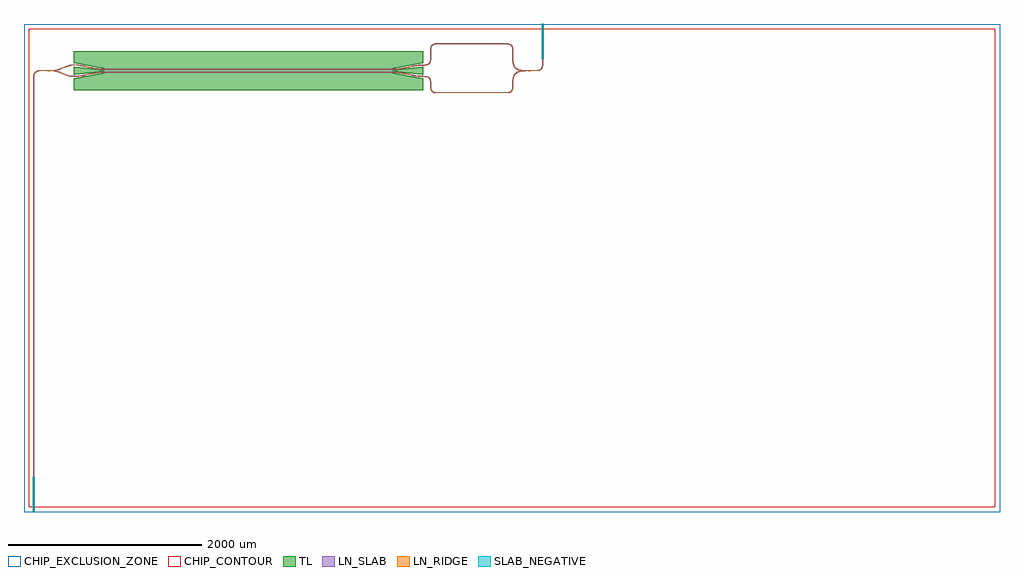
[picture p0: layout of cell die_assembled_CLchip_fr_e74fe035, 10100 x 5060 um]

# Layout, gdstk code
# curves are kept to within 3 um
import gdstk
lib = gdstk.Library(unit=1e-6, precision=1e-09)
def R(c, l, rs):  # rectangles x0, y0, x1, y1
    for r in rs: c.add(gdstk.rectangle(r[:2], r[2:], *l))
def P(c, l, *ps):  # polygons
    for p in ps: c.add(gdstk.Polygon(p, *l))
LN_RIDGE = (2, 0)
LN_SLAB = (3, 0)
SLAB_NEGATIVE = (3, 1)
CHIP_CONTOUR = (6, 0)
CHIP_EXCLUSION_ZONE = (6, 1)
TL = (21, 0)

trave_wave_eom_circuit__ = lib.new_cell('trave_wave_eom_circuit__1110c2b9')
P(trave_wave_eom_circuit__, LN_RIDGE, [(-4950.125,-2400),(-4950.5,-2160),(-4950.495,1970.1),(-4950.259,1980.684),(-4949.544,1989.248),(-4948.294,1996.676),(-4946.488,2003.305),(-4943.978,2009.574),(-4940.694,2015.491),(-4936.514,2021.153),(-4931.827,2026.034),(-4928.304,2028.997),(-4924.196,2031.864),(-4920.2,2034.148),(-4915.772,2036.183),(-4911.197,2037.811),(-4906.25,2039.129),(-4900.961,2040.127),(-4895.357,2040.815),(-4881.558,2041.431),(-4830,2041.452),(-4805,2041.702),(-4805,2043.952),(-4778.25,2043.952),(-4778.25,2043.352),(-4744.66,2043.154),(-4733.089,2043.987),(-4720.714,2045.897),(-4711.927,2047.814),(-4703.136,2050.135),(-4693.543,2053.067),(-4683.946,2056.349),(-4665.543,2063.366),(-4617.484,2083.006),(-4603.853,2088.046),(-4592.222,2091.882),(-4578.98,2095.564),(-4566.132,2098.275),(-4554.079,2099.901),(-4542.825,2100.494),(-4524.399,2100.426),(-4507.956,2099.731),(-4489.912,2098.212),(-4470.668,2095.843),(-4451.027,2092.768),(-4428.986,2088.707),(-4344.069,2070.731),(-4325.252,2067.039),(-4308.44,2064.063),(-4288.429,2061.05),(-4270.822,2058.991),(-4253.619,2057.621),(-4236.019,2056.98),(-4127.629,2057.702),(-1325.609,2057.702),(-1221.219,2056.952),(-1207.62,2057.228),(-1194.419,2057.962),(-1180.415,2059.193),(-1166.01,2060.89),(-1150.402,2063.155),(-1133.59,2066.008),(-1103.163,2071.969),(-1030.262,2087.513),(-1011.028,2091.21),(-993.393,2094.221),(-970.142,2097.454),(-948.891,2099.487),(-930.844,2100.379),(-903.499,2100.649),(-891.789,2101.517),(-884.192,2102.783),(-877.408,2104.591),(-871.18,2106.997),(-865.59,2109.974),(-861.229,2113.034),(-857.518,2116.37),(-854.243,2120.134),(-851.246,2124.54),(-848.755,2129.258),(-846.635,2134.522),(-844.929,2140.291),(-843.713,2146.191),(-842.635,2155.175),(-842.174,2165.576),(-842.115,2249.044),(-841.784,2262.204),(-841.009,2270.625),(-839.742,2277.968),(-837.874,2284.841),(-835.39,2291.162),(-833.365,2295.092),(-830.998,2298.83),(-828.502,2302.066),(-825.706,2305.052),(-822.632,2307.748),(-819.037,2310.331),(-815.22,2312.565),(-811.229,2314.462),(-806.783,2316.148),(-801.898,2317.578),(-796.595,2318.718),(-791.367,2319.5),(-768.303,2319.5),(-782.759,2319.222),(-793.442,2318.216),(-802.946,2316.268),(-811.143,2313.41),(-815.048,2311.523),(-818.772,2309.309),(-822.009,2306.966),(-825.011,2304.333),(-827.739,2301.419),(-830.179,2298.256),(-832.497,2294.596),(-834.483,2290.742),(-836.925,2284.529),(-838.765,2277.754),(-840.06,2270.163),(-840.805,2261.811),(-841.115,2249.041),(-841.174,2165.559),(-841.638,2155.097),(-842.727,2146.025),(-844.041,2139.721),(-845.802,2133.873),(-847.992,2128.529),(-850.564,2123.735),(-853.66,2119.255),(-857.045,2115.426),(-860.874,2112.041),(-865.064,2109.123),(-870.148,2106.373),(-875.812,2104.071),(-881.669,2102.34),(-888.313,2100.998),(-894.694,2100.194),(-902.452,2099.687),(-930.018,2099.399),(-946.419,2098.655),(-964.023,2097.133),(-983.631,2094.682),(-1004.043,2091.437),(-1026.462,2087.252),(-1102.959,2070.99),(-1135.416,2064.664),(-1151.849,2061.916),(-1167.483,2059.69),(-1181.515,2058.076),(-1195.55,2056.88),(-1216.806,2055.985),(-1325.609,2055.202),(-4127.629,2055.202),(-4236.031,2055.98),(-4252.876,2056.576),(-4270.921,2057.996),(-4288.16,2060.005),(-4308.203,2063.01),(-4325.035,2065.981),(-4344.269,2069.751),(-4407.557,2083.307),(-4429.579,2087.804),(-4450.395,2091.645),(-4470.407,2094.796),(-4488.815,2097.091),(-4507.219,2098.682),(-4523.62,2099.409),(-4542.017,2099.499),(-4553.587,2098.942),(-4565.96,2097.29),(-4578.741,2094.593),(-4592.728,2090.679),(-4604.323,2086.821),(-4617.923,2081.763),(-4663.168,2063.243),(-4679.199,2057.014),(-4695.641,2051.345),(-4710.086,2047.237),(-4722.532,2044.54),(-4734.182,2042.861),(-4745.034,2042.143),(-4778.25,2041.852),(-4778.25,2040.052),(-4746.24,2039.786),(-4738.602,2039.44),(-4725.344,2037.849),(-4711.29,2034.965),(-4696.443,2030.811),(-4680.001,2025.186),(-4663.168,2018.661),(-4617.923,2000.141),(-4604.323,1995.083),(-4592.728,1991.225),(-4578.741,1987.311),(-4565.96,1984.614),(-4553.587,1982.962),(-4542.017,1982.405),(-4523.62,1982.495),(-4507.219,1983.222),(-4488.815,1984.813),(-4470.407,1987.108),(-4450.395,1990.259),(-4429.579,1994.1),(-4407.557,1998.597),(-4344.269,2012.153),(-4325.035,2015.923),(-4308.203,2018.894),(-4288.16,2021.899),(-4270.921,2023.908),(-4252.876,2025.328),(-4236.031,2025.924),(-4127.629,2026.702),(-1325.609,2026.702),(-1218.811,2025.941),(-1203.57,2025.499),(-1188.733,2024.499),(-1172.695,2022.859),(-1155.457,2020.538),(-1137.821,2017.665),(-1106.164,2011.578),(-1027.263,1994.811),(-1007.646,1991.101),(-989.234,1988.049),(-968.024,1985.211),(-947.619,1983.33),(-930.018,1982.505),(-903.465,1982.254),(-893.011,1981.537),(-885.643,1980.436),(-879.374,1978.955),(-873.582,1977.009),(-868.32,1974.626),(-863.916,1972.048),(-859.814,1969.006),(-856.331,1965.745),(-853.039,1961.837),(-850.215,1957.585),(-847.706,1952.758),(-845.69,1947.711),(-844.041,1942.183),(-842.273,1932.864),(-841.349,1922.083),(-841.131,1912.634),(-841.075,1878.153),(-840.491,1865.742),(-839.685,1859.087),(-838.467,1852.845),(-836.819,1847.058),(-834.759,1841.769),(-831.992,1836.444),(-828.585,1831.514),(-824.771,1827.341),(-820.417,1823.731),(-815.341,1820.539),(-809.911,1817.977),(-803.591,1815.815),(-796.748,1814.23),(-791.449,1813.421),(-785.105,1812.822),(-769.313,1812.405),(-64.935,1812.404),(-48.133,1812.822),(-38.471,1813.89),(-30.292,1815.636),(-22.709,1818.232),(-16.159,1821.531),(-10.2,1825.784),(-5.499,1830.485),(-1.246,1836.444),(2.053,1842.994),(3.993,1848.33),(5.527,1854.15),(6.597,1860.081),(7.365,1867.079),(7.842,1878.489),(7.903,1917.017),(8.237,1932.532),(9.354,1948.024),(11.39,1961.728),(13.087,1969.32),(15.042,1976.151),(17.422,1982.849),(20.114,1989.064),(23.245,1995.073),(26.641,2000.544),(30.459,2005.733),(34.465,2010.339),(38.843,2014.596),(43.826,2018.68),(49.125,2022.342),(54.986,2025.745),(61.083,2028.697),(67.686,2031.336),(74.446,2033.529),(81.653,2035.389),(88.615,2036.784),(95.633,2037.851),(111.442,2039.268),(126.282,2039.738),(165.779,2040.052),(165.779,2041.852),(121.897,2042.244),(111.442,2042.636),(102.685,2043.272),(94.628,2044.187),(87.284,2045.359),(80.335,2046.822),(73.472,2048.662),(65.781,2051.276),(58.619,2054.335),(52.316,2057.634),(46.022,2061.631),(40.379,2065.973),(35.406,2070.587),(30.671,2075.907),(26.452,2081.642),(23.078,2087.126),(20.114,2092.84),(17.422,2099.055),(15.145,2105.431),(13.256,2111.929),(11.654,2118.849),(10.302,2126.506),(9.318,2134.216),(8.379,2146.337),(7.941,2160.84),(7.791,2256.104),(7.253,2266.162),(6.174,2274.469),(4.907,2280.358),(3.365,2285.478),(1.384,2290.439),(-0.908,2294.885),(-3.642,2299.067),(-6.601,2302.666),(-9.947,2305.904),(-13.912,2308.939),(-17.897,2311.365),(-22.402,2313.542),(-27.09,2315.306),(-32.56,2316.848),(-38.14,2317.961),(-44.121,2318.745),(-58.204,2319.461),(-791.367,2319.5),(-781.798,2320.27),(-769.315,2320.499),(-62.912,2320.497),(-52.79,2320.326),(-44.694,2319.806),(-37.31,2318.835),(-30.683,2317.408),(-23.899,2315.228),(-17.718,2312.405),(-12.234,2308.984),(-7.288,2304.814),(-3.244,2300.206),(0.295,2294.796),(3.361,2288.353),(5.614,2281.591),(6.782,2276.641),(7.727,2270.96),(8.707,2258.829),(8.995,2157.486),(9.739,2140.683),(11.341,2126.323),(12.979,2117.406),(15.114,2108.946),(17.752,2100.986),(20.874,2093.572),(24.28,2087.035),(28.422,2080.542),(33.169,2074.483),(38.031,2069.412),(43.628,2064.632),(49.661,2060.406),(56.048,2056.731),(63.026,2053.458),(70.561,2050.631),(78.936,2048.194),(87.796,2046.282),(96.762,2044.917),(110.825,2043.672),(127.979,2043.146),(165.779,2043.352),(165.779,2043.952),(192.529,2043.952),(192.529,2041.702),(246.406,2041.456),(260.271,2041.876),(266.231,2042.467),(271.61,2043.338),(276.648,2044.526),(281.319,2046.026),(285.602,2047.821),(289.715,2049.989),(293.836,2052.668),(297.388,2055.46),(300.871,2058.738),(304.041,2062.319),(306.872,2066.174),(309.466,2070.505),(311.58,2074.943),(313.233,2079.418),(314.581,2084.275),(315.633,2089.618),(316.651,2098.875),(317.017,2110.472),(317.404,2400),(317.654,2400),(317.933,2105.107),(317.184,2093.59),(315.492,2083.783),(314.267,2079.368),(312.658,2074.93),(310.849,2070.994),(308.656,2067.101),(305.325,2062.327),(301.683,2058.139),(297.21,2054.004),(292.635,2050.627),(287.729,2047.756),(282.296,2045.325),(276.785,2043.526),(270.745,2042.156),(262.485,2041.052),(253.106,2040.541),(192.529,2040.202),(192.529,2037.952),(165.779,2037.952),(165.779,2038.552),(132.02,2038.788),(114.857,2038.433),(100.435,2037.406),(92.103,2036.342),(84.828,2035.05),(77.312,2033.289),(70.242,2031.167),(63.645,2028.704),(57.541,2025.933),(51.658,2022.726),(46.048,2019.068),(40.263,2014.514),(34.963,2009.409),(30.207,2003.79),(26.007,1997.739),(22.203,1991.04),(18.852,1983.728),(16.097,1976.166),(13.811,1968.096),(12.245,1960.878),(10.957,1952.921),(10.017,1944.572),(9.414,1936.187),(8.922,1919.368),(8.826,1877.463),(8.249,1865.653),(7.383,1858.598),(6.201,1852.614),(4.529,1846.74),(2.434,1841.36),(-1.104,1834.772),(-5.407,1829.066),(-10.34,1824.369),(-15.938,1820.5),(-22.636,1817.179),(-30.028,1814.671),(-38.313,1812.902),(-47.391,1811.872),(-54.815,1811.512),(-64.934,1811.404),(-769.315,1811.405),(-784.835,1811.802),(-791.236,1812.388),(-796.929,1813.247),(-803.864,1814.853),(-809.972,1816.924),(-815.82,1819.661),(-821.004,1822.92),(-825.46,1826.616),(-829.367,1830.891),(-832.85,1835.931),(-835.672,1841.36),(-837.659,1846.419),(-839.36,1852.284),(-840.621,1858.598),(-841.425,1864.979),(-842.075,1878.138),(-842.131,1912.628),(-842.348,1922.038),(-843.221,1932.399),(-844.929,1941.613),(-846.526,1947.066),(-848.616,1952.343),(-851.076,1957.077),(-853.84,1961.239),(-856.827,1964.814),(-860.455,1968.238),(-864.466,1971.213),(-868.78,1973.739),(-873.947,1976.078),(-879.647,1977.993),(-886.161,1979.517),(-893.121,1980.543),(-903.835,1981.266),(-930.042,1981.505),(-946.485,1982.251),(-966.534,1984.037),(-988.583,1986.939),(-1007.421,1990.045),(-1027.858,1993.91),(-1105.966,2010.516),(-1139.995,2017.028),(-1158.406,2019.961),(-1175.614,2022.191),(-1190.818,2023.668),(-1206.02,2024.611),(-1217.619,2024.929),(-1235.71,2024.937),(-1325.609,2024.202),(-4127.629,2024.202),(-4236.019,2024.924),(-4253.619,2024.283),(-4270.822,2022.913),(-4288.429,2020.854),(-4308.44,2017.841),(-4325.252,2014.865),(-4344.069,2011.173),(-4428.986,1993.197),(-4451.027,1989.136),(-4469.465,1986.232),(-4489.11,1983.776),(-4506.753,1982.251),(-4523.196,1981.505),(-4541.619,1981.404),(-4552.874,1981.895),(-4564.525,1983.357),(-4576.571,1985.762),(-4589.414,1989.175),(-4601.447,1993.025),(-4615.881,1998.281),(-4667.544,2019.336),(-4689.545,2027.508),(-4701.937,2031.424),(-4712.726,2034.282),(-4723.11,2036.452),(-4733.089,2037.917),(-4740.671,2038.575),(-4748.25,2038.802),(-4778.25,2038.552),(-4778.25,2037.952),(-4805,2037.952),(-4805,2040.202),(-4830,2040.452),(-4876.872,2040.452),(-4891.679,2040.1),(-4898.042,2039.52),(-4903.69,2038.642),(-4908.992,2037.413),(-4913.914,2035.832),(-4918.433,2033.912),(-4922.985,2031.438),(-4927.271,2028.527),(-4931.053,2025.387),(-4935.492,2020.811),(-4939.563,2015.397),(-4942.96,2009.385),(-4945.455,2003.242),(-4947.317,1996.463),(-4948.568,1988.994),(-4949.26,1980.635),(-4949.494,1970.363),(-4949.5,-2160),(-4949.875,-2400)])
P(trave_wave_eom_circuit__, LN_SLAB, [(-4950.125,-2530),(-4952.825,-2160),(-4955,-2160),(-4955,1965.952),(-4954.289,1987.288),(-4951.367,2002.789),(-4945.56,2016.169),(-4936.671,2027.623),(-4928.315,2034.543),(-4918.815,2039.785),(-4896.336,2045.241),(-4778.25,2045.952),(-4778.25,2047.602),(-4742.478,2047.739),(-4718.451,2050.947),(-4686.253,2060.304),(-4593.137,2096.308),(-4568.962,2102.339),(-4541.619,2105),(-4508.888,2104.297),(-4467.617,2099.952),(-4305.714,2068.175),(-4266.416,2063.094),(-4239.912,2061.552),(-1195.929,2062.367),(-1138.77,2069.657),(-994.904,2098.537),(-952.05,2103.762),(-892.659,2105.944),(-879.088,2108.778),(-867.7,2113.961),(-860.934,2119.315),(-855.58,2126.081),(-851.412,2134.546),(-848.049,2147.562),(-846.639,2168.307),(-846.276,2262.467),(-844.137,2278.931),(-838.505,2295.044),(-830.427,2306.668),(-820.05,2315),(-766.619,2315),(-790.579,2314.056),(-807.073,2310.207),(-820.352,2302.496),(-830.527,2288.572),(-834.565,2275.866),(-836.33,2261.233),(-836.643,2167.876),(-838.348,2144.93),(-842.459,2129.98),(-847.512,2120.135),(-854.951,2111.192),(-863.334,2104.909),(-875.025,2099.585),(-886.549,2096.729),(-947.309,2094.085),(-985.378,2089.881),(-1138.657,2059.526),(-1198.888,2052.155),(-4238.931,2051.528),(-4278.243,2054.249),(-4314.581,2059.527),(-4467.86,2089.882),(-4505.929,2094.085),(-4541.619,2095),(-4565.19,2092.857),(-4591.785,2086.259),(-4683.31,2050.738),(-4717.501,2040.952),(-4683.31,2031.166),(-4591.785,1995.645),(-4565.19,1989.047),(-4541.619,1986.904),(-4505.929,1987.819),(-4467.86,1992.022),(-4314.581,2022.377),(-4278.243,2027.655),(-4238.931,2030.376),(-1206.595,2030.14),(-1174.995,2027.656),(-1138.657,2022.378),(-985.378,1992.023),(-947.309,1987.819),(-890.763,1985.801),(-878.841,1983.477),(-866.575,1978.79),(-856.355,1971.973),(-849.433,1964.53),(-843.921,1955.292),(-840.046,1944.682),(-836.962,1924.371),(-836.064,1866.786),(-833.787,1852.67),(-830.527,1843.332),(-825.97,1835.502),(-818.021,1827.553),(-810.191,1822.996),(-797.485,1818.958),(-766.619,1816.904),(-46.501,1817.459),(-29.088,1820.682),(-17.7,1825.865),(-7.268,1835.502),(-1.412,1846.45),(3.092,1870.671),(3.596,1928.618),(5.801,1955.725),(11.192,1978.859),(20.233,1998.841),(32.702,2014.981),(46.413,2025.95),(65.828,2035.449),(86.422,2040.952),(62.858,2047.585),(41.409,2059.412),(25.192,2075.629),(13.365,2097.078),(7.678,2115.9),(4.204,2140.957),(3.361,2251.693),(1.951,2272.438),(-1.412,2285.454),(-5.58,2293.919),(-10.934,2300.685),(-17.7,2306.039),(-35.753,2312.946),(-59.926,2314.98),(-820.05,2315),(-800.55,2322.518),(-773.743,2324.976),(-66.619,2325),(-32.688,2322.518),(-16.575,2316.886),(-4.951,2308.808),(4.398,2296.677),(9.954,2282.778),(13.251,2257.617),(13.573,2154.246),(15.551,2128.619),(19.436,2110.201),(24.542,2096.358),(31.555,2083.916),(41.58,2072.254),(54.509,2062.721),(67.446,2056.528),(81.924,2052.098),(101.228,2048.94),(165.779,2047.602),(165.779,2045.952),(249.033,2045.973),(269.263,2047.478),(287.232,2053.751),(299.288,2063.658),(307.478,2076.798),(311.951,2096.491),(312.529,2160),(314.704,2160),(317.654,2530),(320.354,2160),(322.529,2160),(322.502,2108.807),(320.673,2086.507),(314.858,2068.951),(306.712,2056.957),(295.844,2047.361),(286.344,2042.119),(271.974,2037.808),(254.866,2036.091),(165.779,2035.952),(165.779,2034.302),(101.228,2032.964),(70.156,2026.377),(47.638,2014.662),(36.36,2004.231),(28.5,1993.175),(22.307,1980.238),(17.877,1965.76),(13.889,1935.611),(12.731,1865.252),(9.954,1849.126),(6.079,1838.516),(-1.55,1826.64),(-13.334,1816.813),(-28.841,1810.331),(-44.967,1807.554),(-766.619,1806.904),(-796.689,1808.633),(-811.639,1812.744),(-824.245,1819.718),(-833.805,1829.278),(-839.317,1838.516),(-843.192,1849.126),(-845.969,1865.252),(-846.908,1923.137),(-849.451,1941.138),(-857.268,1958.306),(-862.886,1964.4),(-870.316,1969.461),(-879.088,1973.126),(-892.659,1975.96),(-944.35,1977.607),(-985.621,1981.952),(-1138.77,2012.247),(-1177.31,2017.852),(-1204.631,2020.043),(-4239.912,2020.352),(-4266.416,2018.81),(-4305.714,2013.729),(-4467.617,1981.952),(-4508.888,1977.607),(-4541.619,1976.904),(-4568.962,1979.565),(-4593.137,1985.596),(-4692.175,2023.646),(-4730.887,2033.112),(-4778.25,2034.302),(-4778.25,2035.952),(-4890.622,2035.655),(-4905.038,2033.764),(-4914.154,2030.901),(-4929.6,2020.552),(-4937.201,2010.655),(-4941.072,2002.151),(-4944.005,1989.202),(-4944.979,1972.456),(-4945,-2160),(-4947.175,-2160)])
R(trave_wave_eom_circuit__, SLAB_NEGATIVE, [(-4960,-2530,-4940,-2160), (307.529,2160,327.529,2530)])
P(trave_wave_eom_circuit__, TL, [(-4214.668,2058.452),(-4196.72,2061.452),(-4226.619,2061.452),(-4536.619,2119.047),(-4536.619,2241.452),(-916.619,2241.452),(-916.619,2119.047),(-1226.619,2061.452),(-1256.518,2061.452),(-1238.57,2058.452)],
  [(-4536.619,2000.952),(-4536.619,2080.952),(-4226.619,2051.452),(-4196.623,2051.471),(-4196.72,2052.952),(-4214.668,2052.952),(-4214.668,2054.452),(-4170.87,2054.452),(-4170.87,2052.952),(-4188.818,2052.952),(-4188.818,2051.452),(-4147.02,2051.452),(-4147.02,2052.952),(-4164.968,2052.952),(-4164.968,2054.452),(-4121.17,2054.452),(-4121.17,2052.952),(-4139.118,2052.952),(-4139.118,2051.452),(-4097.32,2051.452),(-4097.32,2052.952),(-4115.268,2052.952),(-4115.268,2054.452),(-4071.47,2054.452),(-4071.47,2052.952),(-4089.418,2052.952),(-4089.418,2051.452),(-4047.62,2051.452),(-4047.62,2052.952),(-4065.568,2052.952),(-4065.568,2054.452),(-4021.77,2054.452),(-4021.77,2052.952),(-4039.718,2052.952),(-4039.718,2051.452),(-3997.92,2051.452),(-3997.92,2052.952),(-4015.868,2052.952),(-4015.868,2054.452),(-3972.07,2054.452),(-3972.07,2052.952),(-3990.018,2052.952),(-3990.018,2051.452),(-3948.22,2051.452),(-3948.22,2052.952),(-3966.168,2052.952),(-3966.168,2054.452),(-3922.37,2054.452),(-3922.37,2052.952),(-3940.318,2052.952),(-3940.318,2051.452),(-3898.52,2051.452),(-3898.52,2052.952),(-3916.468,2052.952),(-3916.468,2054.452),(-3872.67,2054.452),(-3872.67,2052.952),(-3890.618,2052.952),(-3890.618,2051.452),(-3848.82,2051.452),(-3848.82,2052.952),(-3866.768,2052.952),(-3866.768,2054.452),(-3822.97,2054.452),(-3822.97,2052.952),(-3840.918,2052.952),(-3840.918,2051.452),(-3799.12,2051.452),(-3799.12,2052.952),(-3817.068,2052.952),(-3817.068,2054.452),(-3773.27,2054.452),(-3773.27,2052.952),(-3791.218,2052.952),(-3791.218,2051.452),(-3749.42,2051.452),(-3749.42,2052.952),(-3767.368,2052.952),(-3767.368,2054.452),(-3723.57,2054.452),(-3723.57,2052.952),(-3741.518,2052.952),(-3741.518,2051.452),(-3699.72,2051.452),(-3699.72,2052.952),(-3717.668,2052.952),(-3717.668,2054.452),(-3673.87,2054.452),(-3673.87,2052.952),(-3691.818,2052.952),(-3691.818,2051.452),(-3650.02,2051.452),(-3650.02,2052.952),(-3667.968,2052.952),(-3667.968,2054.452),(-3624.17,2054.452),(-3624.17,2052.952),(-3642.118,2052.952),(-3642.118,2051.452),(-3600.32,2051.452),(-3600.32,2052.952),(-3618.268,2052.952),(-3618.268,2054.452),(-3574.47,2054.452),(-3574.47,2052.952),(-3592.418,2052.952),(-3592.418,2051.452),(-3550.62,2051.452),(-3550.62,2052.952),(-3568.568,2052.952),(-3568.568,2054.452),(-3524.77,2054.452),(-3524.77,2052.952),(-3542.718,2052.952),(-3542.718,2051.452),(-3500.92,2051.452),(-3500.92,2052.952),(-3518.868,2052.952),(-3518.868,2054.452),(-3475.07,2054.452),(-3475.07,2052.952),(-3493.018,2052.952),(-3493.018,2051.452),(-3451.22,2051.452),(-3451.22,2052.952),(-3469.168,2052.952),(-3469.168,2054.452),(-3425.37,2054.452),(-3425.37,2052.952),(-3443.318,2052.952),(-3443.318,2051.452),(-3401.52,2051.452),(-3401.52,2052.952),(-3419.468,2052.952),(-3419.468,2054.452),(-3375.67,2054.452),(-3375.67,2052.952),(-3393.618,2052.952),(-3393.618,2051.452),(-3351.82,2051.452),(-3351.82,2052.952),(-3369.768,2052.952),(-3369.768,2054.452),(-3325.97,2054.452),(-3325.97,2052.952),(-3343.918,2052.952),(-3343.918,2051.452),(-3302.12,2051.452),(-3302.12,2052.952),(-3320.068,2052.952),(-3320.068,2054.452),(-3276.27,2054.452),(-3276.27,2052.952),(-3294.218,2052.952),(-3294.218,2051.452),(-3252.42,2051.452),(-3252.42,2052.952),(-3270.368,2052.952),(-3270.368,2054.452),(-3226.57,2054.452),(-3226.57,2052.952),(-3244.518,2052.952),(-3244.518,2051.452),(-3202.72,2051.452),(-3202.72,2052.952),(-3220.668,2052.952),(-3220.668,2054.452),(-3176.87,2054.452),(-3176.87,2052.952),(-3194.818,2052.952),(-3194.818,2051.452),(-3153.02,2051.452),(-3153.02,2052.952),(-3170.968,2052.952),(-3170.968,2054.452),(-3127.17,2054.452),(-3127.17,2052.952),(-3145.118,2052.952),(-3145.118,2051.452),(-3103.32,2051.452),(-3103.32,2052.952),(-3121.268,2052.952),(-3121.268,2054.452),(-3077.47,2054.452),(-3077.47,2052.952),(-3095.418,2052.952),(-3095.418,2051.452),(-3053.62,2051.452),(-3053.62,2052.952),(-3071.568,2052.952),(-3071.568,2054.452),(-3027.77,2054.452),(-3027.77,2052.952),(-3045.718,2052.952),(-3045.718,2051.452),(-3003.92,2051.452),(-3003.92,2052.952),(-3021.868,2052.952),(-3021.868,2054.452),(-2978.07,2054.452),(-2978.07,2052.952),(-2996.018,2052.952),(-2996.018,2051.452),(-2954.22,2051.452),(-2954.22,2052.952),(-2972.168,2052.952),(-2972.168,2054.452),(-2928.37,2054.452),(-2928.37,2052.952),(-2946.318,2052.952),(-2946.318,2051.452),(-2904.52,2051.452),(-2904.52,2052.952),(-2922.468,2052.952),(-2922.468,2054.452),(-2878.67,2054.452),(-2878.67,2052.952),(-2896.618,2052.952),(-2896.618,2051.452),(-2854.82,2051.452),(-2854.82,2052.952),(-2872.768,2052.952),(-2872.768,2054.452),(-2828.97,2054.452),(-2828.97,2052.952),(-2846.918,2052.952),(-2846.918,2051.452),(-2805.12,2051.452),(-2805.12,2052.952),(-2823.068,2052.952),(-2823.068,2054.452),(-2779.27,2054.452),(-2779.27,2052.952),(-2797.218,2052.952),(-2797.218,2051.452),(-2755.42,2051.452),(-2755.42,2052.952),(-2773.368,2052.952),(-2773.368,2054.452),(-2729.57,2054.452),(-2729.57,2052.952),(-2747.518,2052.952),(-2747.518,2051.452),(-2705.72,2051.452),(-2705.72,2052.952),(-2723.668,2052.952),(-2723.668,2054.452),(-2679.87,2054.452),(-2679.87,2052.952),(-2697.818,2052.952),(-2697.818,2051.452),(-2656.02,2051.452),(-2656.02,2052.952),(-2673.968,2052.952),(-2673.968,2054.452),(-2630.17,2054.452),(-2630.17,2052.952),(-2648.118,2052.952),(-2648.118,2051.452),(-2606.32,2051.452),(-2606.32,2052.952),(-2624.268,2052.952),(-2624.268,2054.452),(-2580.47,2054.452),(-2580.47,2052.952),(-2598.418,2052.952),(-2598.418,2051.452),(-2556.62,2051.452),(-2556.62,2052.952),(-2574.568,2052.952),(-2574.568,2054.452),(-2530.77,2054.452),(-2530.77,2052.952),(-2548.718,2052.952),(-2548.718,2051.452),(-2506.92,2051.452),(-2506.92,2052.952),(-2524.868,2052.952),(-2524.868,2054.452),(-2481.07,2054.452),(-2481.07,2052.952),(-2499.018,2052.952),(-2499.018,2051.452),(-2457.22,2051.452),(-2457.22,2052.952),(-2475.168,2052.952),(-2475.168,2054.452),(-2431.37,2054.452),(-2431.37,2052.952),(-2449.318,2052.952),(-2449.318,2051.452),(-2407.52,2051.452),(-2407.52,2052.952),(-2425.468,2052.952),(-2425.468,2054.452),(-2381.67,2054.452),(-2381.67,2052.952),(-2399.618,2052.952),(-2399.618,2051.452),(-2357.82,2051.452),(-2357.82,2052.952),(-2375.768,2052.952),(-2375.768,2054.452),(-2331.97,2054.452),(-2331.97,2052.952),(-2349.918,2052.952),(-2349.918,2051.452),(-2308.12,2051.452),(-2308.12,2052.952),(-2326.068,2052.952),(-2326.068,2054.452),(-2282.27,2054.452),(-2282.27,2052.952),(-2300.218,2052.952),(-2300.218,2051.452),(-2258.42,2051.452),(-2258.42,2052.952),(-2276.368,2052.952),(-2276.368,2054.452),(-2232.57,2054.452),(-2232.57,2052.952),(-2250.518,2052.952),(-2250.518,2051.452),(-2208.72,2051.452),(-2208.72,2052.952),(-2226.668,2052.952),(-2226.668,2054.452),(-2182.87,2054.452),(-2182.87,2052.952),(-2200.818,2052.952),(-2200.818,2051.452),(-2159.02,2051.452),(-2159.02,2052.952),(-2176.968,2052.952),(-2176.968,2054.452),(-2133.17,2054.452),(-2133.17,2052.952),(-2151.118,2052.952),(-2151.118,2051.452),(-2109.32,2051.452),(-2109.32,2052.952),(-2127.268,2052.952),(-2127.268,2054.452),(-2083.47,2054.452),(-2083.47,2052.952),(-2101.418,2052.952),(-2101.418,2051.452),(-2059.62,2051.452),(-2059.62,2052.952),(-2077.568,2052.952),(-2077.568,2054.452),(-2033.77,2054.452),(-2033.77,2052.952),(-2051.718,2052.952),(-2051.718,2051.452),(-2009.92,2051.452),(-2009.92,2052.952),(-2027.868,2052.952),(-2027.868,2054.452),(-1984.07,2054.452),(-1984.07,2052.952),(-2002.018,2052.952),(-2002.018,2051.452),(-1960.22,2051.452),(-1960.22,2052.952),(-1978.168,2052.952),(-1978.168,2054.452),(-1934.37,2054.452),(-1934.37,2052.952),(-1952.318,2052.952),(-1952.318,2051.452),(-1910.52,2051.452),(-1910.52,2052.952),(-1928.468,2052.952),(-1928.468,2054.452),(-1884.67,2054.452),(-1884.67,2052.952),(-1902.618,2052.952),(-1902.618,2051.452),(-1860.82,2051.452),(-1860.82,2052.952),(-1878.768,2052.952),(-1878.768,2054.452),(-1834.97,2054.452),(-1834.97,2052.952),(-1852.918,2052.952),(-1852.918,2051.452),(-1811.12,2051.452),(-1811.12,2052.952),(-1829.068,2052.952),(-1829.068,2054.452),(-1785.27,2054.452),(-1785.27,2052.952),(-1803.218,2052.952),(-1803.218,2051.452),(-1761.42,2051.452),(-1761.42,2052.952),(-1779.368,2052.952),(-1779.368,2054.452),(-1735.57,2054.452),(-1735.57,2052.952),(-1753.518,2052.952),(-1753.518,2051.452),(-1711.72,2051.452),(-1711.72,2052.952),(-1729.668,2052.952),(-1729.668,2054.452),(-1685.87,2054.452),(-1685.87,2052.952),(-1703.818,2052.952),(-1703.818,2051.452),(-1662.02,2051.452),(-1662.02,2052.952),(-1679.968,2052.952),(-1679.968,2054.452),(-1636.17,2054.452),(-1636.17,2052.952),(-1654.118,2052.952),(-1654.118,2051.452),(-1612.32,2051.452),(-1612.32,2052.952),(-1630.268,2052.952),(-1630.268,2054.452),(-1586.47,2054.452),(-1586.47,2052.952),(-1604.418,2052.952),(-1604.418,2051.452),(-1562.62,2051.452),(-1562.62,2052.952),(-1580.568,2052.952),(-1580.568,2054.452),(-1536.77,2054.452),(-1536.77,2052.952),(-1554.718,2052.952),(-1554.718,2051.452),(-1512.92,2051.452),(-1512.92,2052.952),(-1530.868,2052.952),(-1530.868,2054.452),(-1487.07,2054.452),(-1487.07,2052.952),(-1505.018,2052.952),(-1505.018,2051.452),(-1463.22,2051.452),(-1463.22,2052.952),(-1481.168,2052.952),(-1481.168,2054.452),(-1437.37,2054.452),(-1437.37,2052.952),(-1455.318,2052.952),(-1455.318,2051.452),(-1413.52,2051.452),(-1413.52,2052.952),(-1431.468,2052.952),(-1431.468,2054.452),(-1387.67,2054.452),(-1387.67,2052.952),(-1405.618,2052.952),(-1405.618,2051.452),(-1363.82,2051.452),(-1363.82,2052.952),(-1381.768,2052.952),(-1381.768,2054.452),(-1337.97,2054.452),(-1337.97,2052.952),(-1355.918,2052.952),(-1355.918,2051.452),(-1314.12,2051.452),(-1314.12,2052.952),(-1332.068,2052.952),(-1332.068,2054.452),(-1288.27,2054.452),(-1288.27,2052.952),(-1306.218,2052.952),(-1306.218,2051.452),(-1264.42,2051.452),(-1264.42,2052.952),(-1282.368,2052.952),(-1282.368,2054.452),(-1238.57,2054.452),(-1238.57,2052.952),(-1256.518,2052.952),(-1256.615,2051.471),(-1226.619,2051.452),(-916.619,2080.952),(-916.619,2000.952),(-1226.619,2030.452),(-1256.615,2030.433),(-1256.518,2028.952),(-1238.57,2028.952),(-1238.57,2027.452),(-1282.368,2027.452),(-1282.368,2028.952),(-1264.42,2028.952),(-1264.42,2030.452),(-1306.218,2030.452),(-1306.218,2028.952),(-1288.27,2028.952),(-1288.27,2027.452),(-1332.068,2027.452),(-1332.068,2028.952),(-1314.12,2028.952),(-1314.12,2030.452),(-1355.918,2030.452),(-1355.918,2028.952),(-1337.97,2028.952),(-1337.97,2027.452),(-1381.768,2027.452),(-1381.768,2028.952),(-1363.82,2028.952),(-1363.82,2030.452),(-1405.618,2030.452),(-1405.618,2028.952),(-1387.67,2028.952),(-1387.67,2027.452),(-1431.468,2027.452),(-1431.468,2028.952),(-1413.52,2028.952),(-1413.52,2030.452),(-1455.318,2030.452),(-1455.318,2028.952),(-1437.37,2028.952),(-1437.37,2027.452),(-1481.168,2027.452),(-1481.168,2028.952),(-1463.22,2028.952),(-1463.22,2030.452),(-1505.018,2030.452),(-1505.018,2028.952),(-1487.07,2028.952),(-1487.07,2027.452),(-1530.868,2027.452),(-1530.868,2028.952),(-1512.92,2028.952),(-1512.92,2030.452),(-1554.718,2030.452),(-1554.718,2028.952),(-1536.77,2028.952),(-1536.77,2027.452),(-1580.568,2027.452),(-1580.568,2028.952),(-1562.62,2028.952),(-1562.62,2030.452),(-1604.418,2030.452),(-1604.418,2028.952),(-1586.47,2028.952),(-1586.47,2027.452),(-1630.268,2027.452),(-1630.268,2028.952),(-1612.32,2028.952),(-1612.32,2030.452),(-1654.118,2030.452),(-1654.118,2028.952),(-1636.17,2028.952),(-1636.17,2027.452),(-1679.968,2027.452),(-1679.968,2028.952),(-1662.02,2028.952),(-1662.02,2030.452),(-1703.818,2030.452),(-1703.818,2028.952),(-1685.87,2028.952),(-1685.87,2027.452),(-1729.668,2027.452),(-1729.668,2028.952),(-1711.72,2028.952),(-1711.72,2030.452),(-1753.518,2030.452),(-1753.518,2028.952),(-1735.57,2028.952),(-1735.57,2027.452),(-1779.368,2027.452),(-1779.368,2028.952),(-1761.42,2028.952),(-1761.42,2030.452),(-1803.218,2030.452),(-1803.218,2028.952),(-1785.27,2028.952),(-1785.27,2027.452),(-1829.068,2027.452),(-1829.068,2028.952),(-1811.12,2028.952),(-1811.12,2030.452),(-1852.918,2030.452),(-1852.918,2028.952),(-1834.97,2028.952),(-1834.97,2027.452),(-1878.768,2027.452),(-1878.768,2028.952),(-1860.82,2028.952),(-1860.82,2030.452),(-1902.618,2030.452),(-1902.618,2028.952),(-1884.67,2028.952),(-1884.67,2027.452),(-1928.468,2027.452),(-1928.468,2028.952),(-1910.52,2028.952),(-1910.52,2030.452),(-1952.318,2030.452),(-1952.318,2028.952),(-1934.37,2028.952),(-1934.37,2027.452),(-1978.168,2027.452),(-1978.168,2028.952),(-1960.22,2028.952),(-1960.22,2030.452),(-2002.018,2030.452),(-2002.018,2028.952),(-1984.07,2028.952),(-1984.07,2027.452),(-2027.868,2027.452),(-2027.868,2028.952),(-2009.92,2028.952),(-2009.92,2030.452),(-2051.718,2030.452),(-2051.718,2028.952),(-2033.77,2028.952),(-2033.77,2027.452),(-2077.568,2027.452),(-2077.568,2028.952),(-2059.62,2028.952),(-2059.62,2030.452),(-2101.418,2030.452),(-2101.418,2028.952),(-2083.47,2028.952),(-2083.47,2027.452),(-2127.268,2027.452),(-2127.268,2028.952),(-2109.32,2028.952),(-2109.32,2030.452),(-2151.118,2030.452),(-2151.118,2028.952),(-2133.17,2028.952),(-2133.17,2027.452),(-2176.968,2027.452),(-2176.968,2028.952),(-2159.02,2028.952),(-2159.02,2030.452),(-2200.818,2030.452),(-2200.818,2028.952),(-2182.87,2028.952),(-2182.87,2027.452),(-2226.668,2027.452),(-2226.668,2028.952),(-2208.72,2028.952),(-2208.72,2030.452),(-2250.518,2030.452),(-2250.518,2028.952),(-2232.57,2028.952),(-2232.57,2027.452),(-2276.368,2027.452),(-2276.368,2028.952),(-2258.42,2028.952),(-2258.42,2030.452),(-2300.218,2030.452),(-2300.218,2028.952),(-2282.27,2028.952),(-2282.27,2027.452),(-2326.068,2027.452),(-2326.068,2028.952),(-2308.12,2028.952),(-2308.12,2030.452),(-2349.918,2030.452),(-2349.918,2028.952),(-2331.97,2028.952),(-2331.97,2027.452),(-2375.768,2027.452),(-2375.768,2028.952),(-2357.82,2028.952),(-2357.82,2030.452),(-2399.618,2030.452),(-2399.618,2028.952),(-2381.67,2028.952),(-2381.67,2027.452),(-2425.468,2027.452),(-2425.468,2028.952),(-2407.52,2028.952),(-2407.52,2030.452),(-2449.318,2030.452),(-2449.318,2028.952),(-2431.37,2028.952),(-2431.37,2027.452),(-2475.168,2027.452),(-2475.168,2028.952),(-2457.22,2028.952),(-2457.22,2030.452),(-2499.018,2030.452),(-2499.018,2028.952),(-2481.07,2028.952),(-2481.07,2027.452),(-2524.868,2027.452),(-2524.868,2028.952),(-2506.92,2028.952),(-2506.92,2030.452),(-2548.718,2030.452),(-2548.718,2028.952),(-2530.77,2028.952),(-2530.77,2027.452),(-2574.568,2027.452),(-2574.568,2028.952),(-2556.62,2028.952),(-2556.62,2030.452),(-2598.418,2030.452),(-2598.418,2028.952),(-2580.47,2028.952),(-2580.47,2027.452),(-2624.268,2027.452),(-2624.268,2028.952),(-2606.32,2028.952),(-2606.32,2030.452),(-2648.118,2030.452),(-2648.118,2028.952),(-2630.17,2028.952),(-2630.17,2027.452),(-2673.968,2027.452),(-2673.968,2028.952),(-2656.02,2028.952),(-2656.02,2030.452),(-2697.818,2030.452),(-2697.818,2028.952),(-2679.87,2028.952),(-2679.87,2027.452),(-2723.668,2027.452),(-2723.668,2028.952),(-2705.72,2028.952),(-2705.72,2030.452),(-2747.518,2030.452),(-2747.518,2028.952),(-2729.57,2028.952),(-2729.57,2027.452),(-2773.368,2027.452),(-2773.368,2028.952),(-2755.42,2028.952),(-2755.42,2030.452),(-2797.218,2030.452),(-2797.218,2028.952),(-2779.27,2028.952),(-2779.27,2027.452),(-2823.068,2027.452),(-2823.068,2028.952),(-2805.12,2028.952),(-2805.12,2030.452),(-2846.918,2030.452),(-2846.918,2028.952),(-2828.97,2028.952),(-2828.97,2027.452),(-2872.768,2027.452),(-2872.768,2028.952),(-2854.82,2028.952),(-2854.82,2030.452),(-2896.618,2030.452),(-2896.618,2028.952),(-2878.67,2028.952),(-2878.67,2027.452),(-2922.468,2027.452),(-2922.468,2028.952),(-2904.52,2028.952),(-2904.52,2030.452),(-2946.318,2030.452),(-2946.318,2028.952),(-2928.37,2028.952),(-2928.37,2027.452),(-2972.168,2027.452),(-2972.168,2028.952),(-2954.22,2028.952),(-2954.22,2030.452),(-2996.018,2030.452),(-2996.018,2028.952),(-2978.07,2028.952),(-2978.07,2027.452),(-3021.868,2027.452),(-3021.868,2028.952),(-3003.92,2028.952),(-3003.92,2030.452),(-3045.718,2030.452),(-3045.718,2028.952),(-3027.77,2028.952),(-3027.77,2027.452),(-3071.568,2027.452),(-3071.568,2028.952),(-3053.62,2028.952),(-3053.62,2030.452),(-3095.418,2030.452),(-3095.418,2028.952),(-3077.47,2028.952),(-3077.47,2027.452),(-3121.268,2027.452),(-3121.268,2028.952),(-3103.32,2028.952),(-3103.32,2030.452),(-3145.118,2030.452),(-3145.118,2028.952),(-3127.17,2028.952),(-3127.17,2027.452),(-3170.968,2027.452),(-3170.968,2028.952),(-3153.02,2028.952),(-3153.02,2030.452),(-3194.818,2030.452),(-3194.818,2028.952),(-3176.87,2028.952),(-3176.87,2027.452),(-3220.668,2027.452),(-3220.668,2028.952),(-3202.72,2028.952),(-3202.72,2030.452),(-3244.518,2030.452),(-3244.518,2028.952),(-3226.57,2028.952),(-3226.57,2027.452),(-3270.368,2027.452),(-3270.368,2028.952),(-3252.42,2028.952),(-3252.42,2030.452),(-3294.218,2030.452),(-3294.218,2028.952),(-3276.27,2028.952),(-3276.27,2027.452),(-3320.068,2027.452),(-3320.068,2028.952),(-3302.12,2028.952),(-3302.12,2030.452),(-3343.918,2030.452),(-3343.918,2028.952),(-3325.97,2028.952),(-3325.97,2027.452),(-3369.768,2027.452),(-3369.768,2028.952),(-3351.82,2028.952),(-3351.82,2030.452),(-3393.618,2030.452),(-3393.618,2028.952),(-3375.67,2028.952),(-3375.67,2027.452),(-3419.468,2027.452),(-3419.468,2028.952),(-3401.52,2028.952),(-3401.52,2030.452),(-3443.318,2030.452),(-3443.318,2028.952),(-3425.37,2028.952),(-3425.37,2027.452),(-3469.168,2027.452),(-3469.168,2028.952),(-3451.22,2028.952),(-3451.22,2030.452),(-3493.018,2030.452),(-3493.018,2028.952),(-3475.07,2028.952),(-3475.07,2027.452),(-3518.868,2027.452),(-3518.868,2028.952),(-3500.92,2028.952),(-3500.92,2030.452),(-3542.718,2030.452),(-3542.718,2028.952),(-3524.77,2028.952),(-3524.77,2027.452),(-3568.568,2027.452),(-3568.568,2028.952),(-3550.62,2028.952),(-3550.62,2030.452),(-3592.418,2030.452),(-3592.418,2028.952),(-3574.47,2028.952),(-3574.47,2027.452),(-3618.268,2027.452),(-3618.268,2028.952),(-3600.32,2028.952),(-3600.32,2030.452),(-3642.118,2030.452),(-3642.118,2028.952),(-3624.17,2028.952),(-3624.17,2027.452),(-3667.968,2027.452),(-3667.968,2028.952),(-3650.02,2028.952),(-3650.02,2030.452),(-3691.818,2030.452),(-3691.818,2028.952),(-3673.87,2028.952),(-3673.87,2027.452),(-3717.668,2027.452),(-3717.668,2028.952),(-3699.72,2028.952),(-3699.72,2030.452),(-3741.518,2030.452),(-3741.518,2028.952),(-3723.57,2028.952),(-3723.57,2027.452),(-3767.368,2027.452),(-3767.368,2028.952),(-3749.42,2028.952),(-3749.42,2030.452),(-3791.218,2030.452),(-3791.218,2028.952),(-3773.27,2028.952),(-3773.27,2027.452),(-3817.068,2027.452),(-3817.068,2028.952),(-3799.12,2028.952),(-3799.12,2030.452),(-3840.918,2030.452),(-3840.918,2028.952),(-3822.97,2028.952),(-3822.97,2027.452),(-3866.768,2027.452),(-3866.768,2028.952),(-3848.82,2028.952),(-3848.82,2030.452),(-3890.618,2030.452),(-3890.618,2028.952),(-3872.67,2028.952),(-3872.67,2027.452),(-3916.468,2027.452),(-3916.468,2028.952),(-3898.52,2028.952),(-3898.52,2030.452),(-3940.318,2030.452),(-3940.318,2028.952),(-3922.37,2028.952),(-3922.37,2027.452),(-3966.168,2027.452),(-3966.168,2028.952),(-3948.22,2028.952),(-3948.22,2030.452),(-3990.018,2030.452),(-3990.018,2028.952),(-3972.07,2028.952),(-3972.07,2027.452),(-4015.868,2027.452),(-4015.868,2028.952),(-3997.92,2028.952),(-3997.92,2030.452),(-4039.718,2030.452),(-4039.718,2028.952),(-4021.77,2028.952),(-4021.77,2027.452),(-4065.568,2027.452),(-4065.568,2028.952),(-4047.62,2028.952),(-4047.62,2030.452),(-4089.418,2030.452),(-4089.418,2028.952),(-4071.47,2028.952),(-4071.47,2027.452),(-4115.268,2027.452),(-4115.268,2028.952),(-4097.32,2028.952),(-4097.32,2030.452),(-4139.118,2030.452),(-4139.118,2028.952),(-4121.17,2028.952),(-4121.17,2027.452),(-4164.968,2027.452),(-4164.968,2028.952),(-4147.02,2028.952),(-4147.02,2030.452),(-4188.818,2030.452),(-4188.818,2028.952),(-4170.87,2028.952),(-4170.87,2027.452),(-4214.668,2027.452),(-4214.668,2028.952),(-4196.72,2028.952),(-4196.623,2030.433),(-4226.619,2030.452)],
  [(-4536.619,1840.452),(-4536.619,1962.857),(-4226.619,2020.452),(-4196.72,2020.452),(-4214.668,2023.452),(-1238.57,2023.452),(-1256.518,2020.452),(-1226.619,2020.452),(-916.619,1962.857),(-916.619,1840.452)])

chip_frame = lib.new_cell('chip_frame')
R(chip_frame, CHIP_CONTOUR, [(-5000,-2475,5000,2475)])
R(chip_frame, CHIP_EXCLUSION_ZONE, [(-5050,-2525,5050,2525)])

die_assembled_clchip_fr_ = lib.new_cell('die_assembled_CLchip_fr_e74fe035')
die_assembled_clchip_fr_.add(gdstk.Reference(trave_wave_eom_circuit__, (0,0)))
die_assembled_clchip_fr_.add(gdstk.Reference(chip_frame, (0,0)))

lib.write_gds('die_assembled_CLchip_fr_e74fe035.gds')
